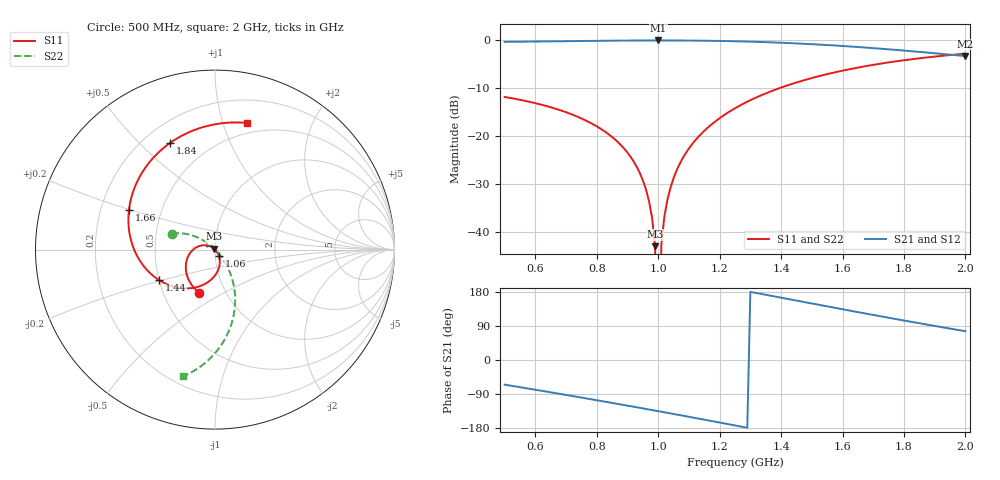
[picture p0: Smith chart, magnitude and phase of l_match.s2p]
! https://github.com/szoftveres
# Hz S RI R 50
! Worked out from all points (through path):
!   151 points, 500 MHz to 2 GHz, reference 50 ohm
!   highest |S21| = 0.00 dB at 1 GHz (marker M1); lowest = -3.3 dB at 2 GHz (marker M2)
!   group delay of S21, straight-line fit = 412 ps
!   lowest |S11| = -43.1 dB at 990 MHz (marker M3), VSWR 1.01, Z = 49.5 + j0.472 ohm
!   |S11| at or under -10 dB: start of sweep to 1.394 GHz
!   |S22| runs from - to -2.8 dB; largest |S21 - S12| = 0
!   S11 on the Smith chart (normalised r, x): 500 MHz: 0.75, -0.39; 1.06 GHz: 1.04, -0.08; 1.44 GHz: 0.50, -0.19; 1.66 GHz: 0.32, +0.20; 1.84 GHz: 0.31, +0.62; 2 GHz: 0.40, +1.20
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5e8  -0.0876 -0.2409  0.4088 -0.8759  0.4088 -0.8759  -0.2409 0.0876
6.3e8  -0.1579 -0.1362  0.1272 -0.9697  0.1272 -0.9697  -0.1877 0.0909
7.5e8  -0.1487 -0.0354  -0.1564 -0.9758  -0.1564 -0.9758  -0.1302 0.0801
8.6e8  -0.0897 0.0192  -0.4156 -0.9049  -0.4156 -0.9049  -0.073 0.0555
9.3e8  -0.0419 0.0227  -0.5695 -0.8206  -0.5695 -0.8206  -0.036 0.0313
9.5e8  -0.0288 0.0188  -0.6108 -0.7911  -0.6108 -0.7911  -0.0255 0.0231
9.7e8  -0.0165 0.0128  -0.6506 -0.7592  -0.6506 -0.7592  -0.0152 0.0143
9.8e8  -0.0107 0.00905  -0.6698 -0.7424  -0.6698 -0.7424  -0.0101 0.0097
9.9e8  -0.00518 0.00476  -0.6887 -0.725  -0.6887 -0.725  -0.00502 0.00493
1e9  -0 0  -0.7071 -0.7071  -0.7071 -0.7071  -0 0
1.01e9  0.00481 -0.00523  -0.725 -0.6887  -0.725 -0.6887  0.00497 -0.00507
1.02e9  0.00923 -0.0109  -0.7425 -0.6697  -0.7425 -0.6697  0.00989 -0.0103
1.03e9  0.0132 -0.017  -0.7595 -0.6502  -0.7595 -0.6502  0.0148 -0.0157
1.06e9  0.0223 -0.0375  -0.8071 -0.5888  -0.8071 -0.5888  0.0289 -0.0327
1.13e9  0.0234 -0.0946  -0.8974 -0.4304  -0.8974 -0.4304  0.0591 -0.0775
1.25e9  -0.0508 -0.1883  -0.9726 -0.1263  -0.9726 -0.1263  0.0972 -0.1691
1.44e9  -0.3115 -0.17  -0.8682 0.3467  -0.8682 0.3467  0.1087 -0.3378
1.5e9  -0.3922 -0.098  -0.7843 0.4706  -0.7843 0.4706  0.098 -0.3922
1.66e9  -0.4795 0.2194  -0.485 0.6976  -0.485 0.6976  0.0387 -0.5259
1.75e9  -0.4091 0.424  -0.2958 0.7519  -0.2958 0.7519  -0.0105 -0.5891
1.84e9  -0.25 0.5943  -0.1119 0.7562  -0.1119 0.7562  -0.0672 -0.6412
2e9  0.1765 0.7059  0.1664 0.6655  0.1664 0.6655  -0.1765 -0.7059
